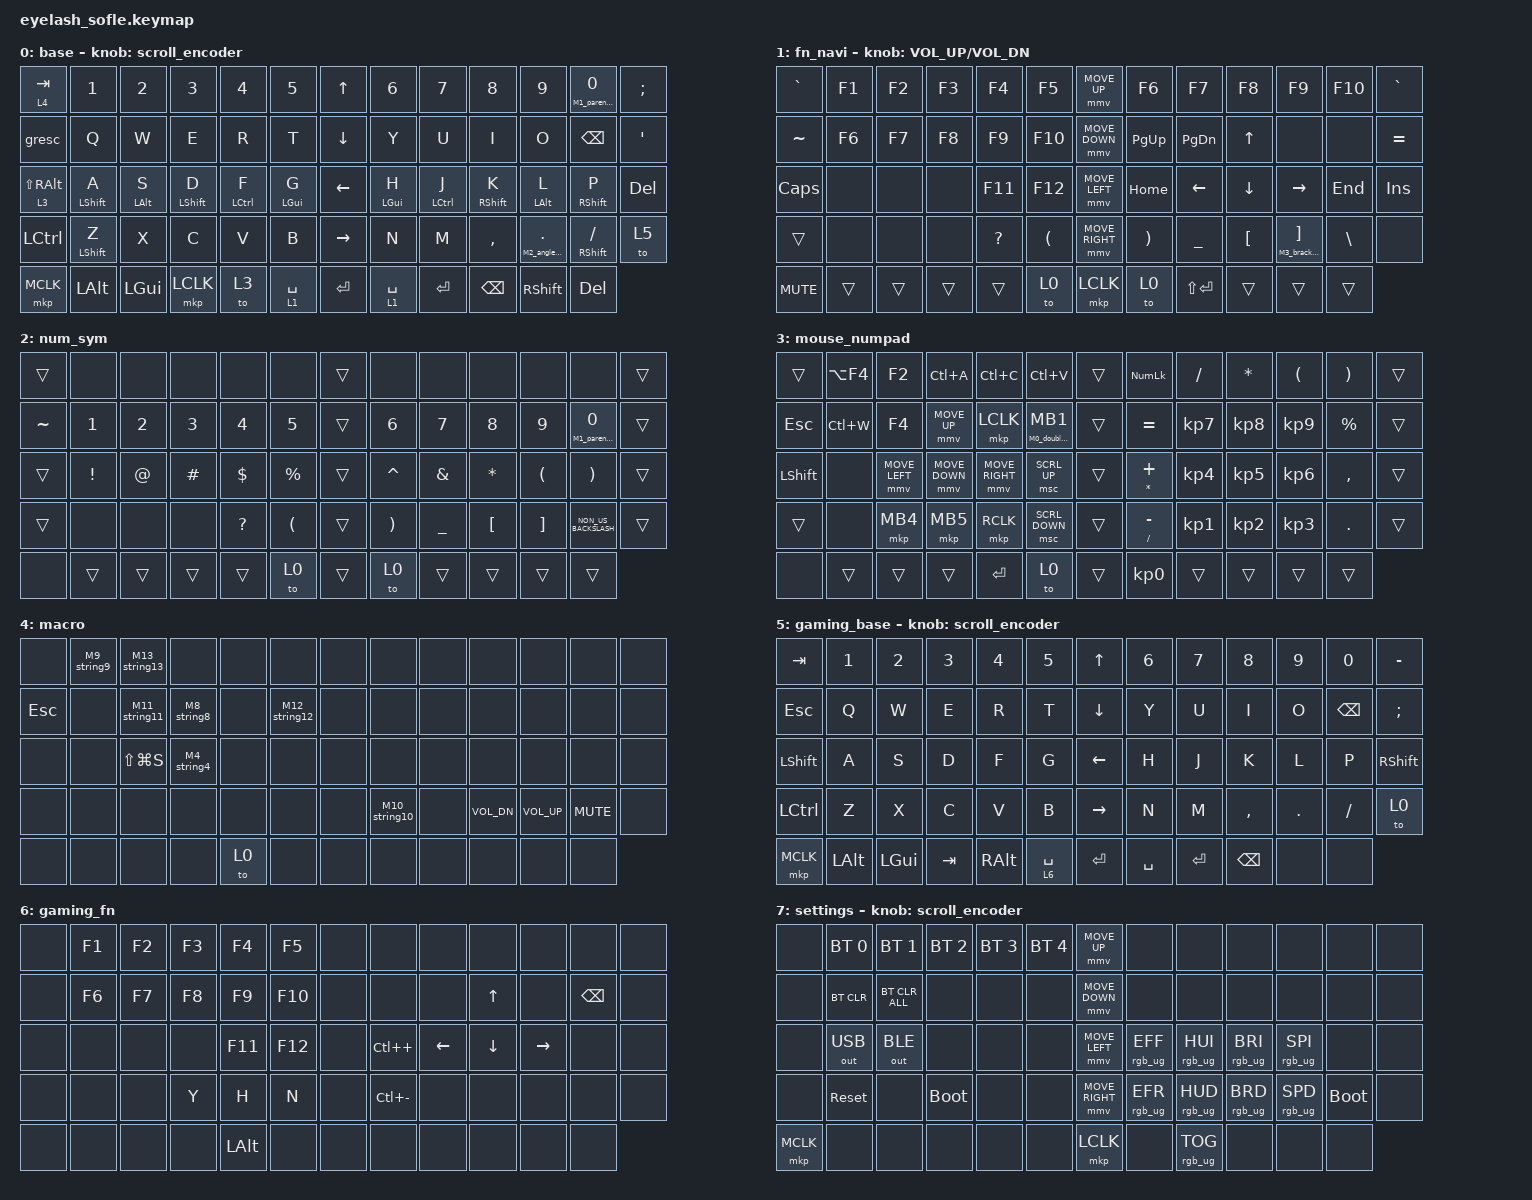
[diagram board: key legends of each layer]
#define ZMK_POINTING_DEFAULT_MOVE_VAL 1200  // 600
#define ZMK_POINTING_DEFAULT_SCRL_VAL 25   // 10

#include <input/processors.dtsi>
#include <zephyr/dt-bindings/input/input-event-codes.h>
#include <behaviors.dtsi>
#include <dt-bindings/zmk/bt.h>
#include <dt-bindings/zmk/keys.h>
#include <dt-bindings/zmk/outputs.h>
#include <dt-bindings/zmk/pointing.h>
#include <dt-bindings/zmk/rgb.h>

&mmv_input_listener { input-processors = <&zip_xy_scaler 2 1>; };

&msc_input_listener { input-processors = <&zip_scroll_scaler 2 1>; };

&msc {
    acceleration-exponent = <1>;      // 0
    time-to-max-speed-ms = <100>;       // 300
    delay-ms = <0>;                   // 0
};

&mmv {
    time-to-max-speed-ms = <500>;
    acceleration-exponent = <1>;
    trigger-period-ms = <16>;
};

&soft_off { hold-time-ms = <2000>; };

/ {
    scroll_encoder: scroll_encoder {
        compatible = "zmk,behavior-sensor-rotate";
        #sensor-binding-cells = <0>;
        bindings = <&msc SCRL_DOWN>, <&msc SCRL_UP>;

        tap-ms = <100>;
    };

    hanis_homerowmods: hanis_homerowmods {
        compatible = "zmk,behavior-hold-tap";
        label = "HANIS_HOMEROWMODS";
        bindings = <&kp>, <&kp>;

        #binding-cells = <2>;
        tapping-term-ms = <200>;
        flavor = "tap-preferred";
        quick-tap-ms = <130>;
    };

    hanis_holdtab_kpkp: hanis_holdtab_kpkp {
        compatible = "zmk,behavior-hold-tap";
        label = "HANIS_HOLDTAB_KPKP";
        bindings = <&kp>, <&kp>;

        #binding-cells = <2>;
        flavor = "tap-preferred";
        tapping-term-ms = <200>;
    };

    hanis_holdtap_mcr0: hanis_holdtap_mcr0 {
        compatible = "zmk,behavior-hold-tap";
        label = "HANIS_HOLDTAP_MCR0";
        bindings = <&M0_double_click>, <&mkp>;

        #binding-cells = <2>;
        tapping-term-ms = <200>;
        flavor = "tap-preferred";
    };

    hanis_holdtap_mcr1: hanis_holdtap_mcr1 {
        compatible = "zmk,behavior-hold-tap";
        label = "HANIS_HOLDTAP_MCR1";
        bindings = <&M1_parentheses>, <&kp>;

        #binding-cells = <2>;
        tapping-term-ms = <200>;
        flavor = "tap-preferred";
    };

    hanis_holdtab_mcr2: hanis_holdtab_mcr2 {
        compatible = "zmk,behavior-hold-tap";
        label = "HANIS_HOLDTAB_MCR2";
        bindings = <&M2_anglebrackets>, <&kp>;

        #binding-cells = <2>;
        tapping-term-ms = <200>;
        flavor = "tap-preferred";
    };

    hanis_holdtab_mcr3: hanis_holdtab_mcr3 {
        compatible = "zmk,behavior-hold-tap";
        label = "HANIS_HOLDTAB_MCR3";
        bindings = <&M3_brackets>, <&kp>;

        #binding-cells = <2>;
        tapping-term-ms = <200>;
        flavor = "tap-preferred";
    };

    behaviors {
    };

    combos {
        compatible = "zmk,combos";

        softoff {
            bindings = <&soft_off>;
            key-positions = <14 28 40>;
        };

        kl_hanyoung {
            bindings = <&hanis_holdtab_kpkp RCTRL RALT>;
            key-positions = <35 36>;
            timeout-ms = <50>;
            layers = <0>;
        };

        qw_ctrlW {
            bindings = <&kp LC(W)>;
            key-positions = <14 15>;
            timeout-ms = <50>;
            layers = <0>;
        };
    };

    macros {
        M0_double_click: M0_double_click {
            compatible = "zmk,behavior-macro";
            #binding-cells = <0>;
            bindings = <&mkp MB1 &mkp MB1>;
            label = "M0_DOUBLE_CLICK";
        };

        M1_parentheses: M1_parentheses {
            compatible = "zmk,behavior-macro";
            #binding-cells = <0>;
            bindings = <&kp LEFT_PARENTHESIS &kp RIGHT_PARENTHESIS &kp LEFT>;
            label = "M1_PARENTHESES";
        };

        M2_anglebrackets: M2_anglebrackets {
            compatible = "zmk,behavior-macro";
            #binding-cells = <0>;
            bindings = <&kp LESS_THAN &kp GREATER_THAN &kp LEFT>;
            label = "M2_ANGLEBRACKETS";
        };

        M3_brackets: M3_brackets {
            compatible = "zmk,behavior-macro";
            #binding-cells = <0>;
            bindings = <&kp LEFT_BRACKET &kp RIGHT_BRACKET &kp LEFT>;
            label = "M3_BRACKETS";
        };

        M4_string4: new_string1 {
            compatible = "zmk,behavior-macro";
            #binding-cells = <0>;
            bindings = <&kp D &kp L &kp A &kp R &kp M &kp A>;
            label = "NEW_STRING1";
        };

        M7_string7: M7_string7 {
            compatible = "zmk,behavior-macro";
            #binding-cells = <0>;
            bindings = <&kp K &kp I &kp M>;
            label = "M7_STRING7";
        };

        M8_string8: M8_string8 {
            compatible = "zmk,behavior-macro";
            #binding-cells = <0>;
            bindings = <&kp E &kp J &kp S &kp K>;
            label = "M8_STRING8";
        };

        M9_string9: M9_string9 {
            compatible = "zmk,behavior-macro";
            #binding-cells = <0>;
            bindings = <&kp N1 &kp N2 &kp N3 &kp N1 &kp N2 &kp N3 &kp N1 &kp N2 &kp N3>;
            label = "M9_STRING9";
        };

        M10_string10: M10_string10 {
            compatible = "zmk,behavior-macro";
            #binding-cells = <0>;
            bindings = <&kp N &kp I &kp C &kp E>;
            label = "M10_STRING10";
        };

        M11_string11: M11_string11 {
            compatible = "zmk,behavior-macro";
            #binding-cells = <0>;
            bindings = <&kp W &kp A &kp N &kp N &kp A>;
            label = "M11_STRING11";
        };

        M12_string12: M12_string12 {
            compatible = "zmk,behavior-macro";
            #binding-cells = <0>;
            bindings = <&kp T &kp N &kp E>;
            label = "M12_STRING12";
        };

        M13_string13: M13_string13 {
            compatible = "zmk,behavior-macro";
            #binding-cells = <0>;
            bindings = <&kp N1 &kp N2 &kp N3 &kp N1 &kp N2 &kp N3>;
            label = "M13_STRING13";
        };
    };

    keymap {
        compatible = "zmk,keymap";

        layer_0 {
            bindings = <
&lt 4 TAB            &kp N1                       &kp N2                     &kp N3                       &kp N4                      &kp N5                       &kp UP_ARROW     &kp N6                     &kp N7                      &kp N8                       &kp N9                     &hanis_holdtap_mcr1 0 N0        &kp SEMI
&gresc               &kp Q                        &kp W                      &kp E                        &kp R                       &kp T                        &kp DOWN_ARROW   &kp Y                      &kp U                       &kp I                        &kp O                      &kp BACKSPACE                   &kp APOS
&lt 3 LS(RIGHT_ALT)  &hanis_homerowmods LSHFT A   &hanis_homerowmods LALT S  &hanis_homerowmods LSHIFT D  &hanis_homerowmods LCTRL F  &hanis_homerowmods LGUI G    &kp LEFT_ARROW   &hanis_homerowmods LGUI H  &hanis_homerowmods LCTRL J  &hanis_homerowmods RSHIFT K  &hanis_homerowmods LALT L  &hanis_homerowmods RSHFT P      &kp DELETE
&kp LEFT_CONTROL     &hanis_homerowmods LSHIFT Z  &kp X                      &kp C                        &kp V                       &kp B                        &kp RIGHT_ARROW  &kp N                      &kp M                       &kp COMMA                    &hanis_holdtab_mcr2 0 DOT  &hanis_homerowmods RSHIFT FSLH  &to 5
&mkp MCLK            &kp LALT                     &kp LEFT_GUI               &mkp LCLK                    &to 3                       &lt 1 SPACE                  &kp ENTER        &lt 1 SPACE                &kp ENTER                   &kp BACKSPACE                &kp RIGHT_SHIFT            &kp DELETE
            >;

            sensor-bindings = <&scroll_encoder>;
            display-name = "base";
        };

        layer_1 {
            bindings = <
&kp GRAVE     &kp F1  &kp F2  &kp F3  &kp F4        &kp F5                  &mmv MOVE_UP     &kp F6                 &kp F7          &kp F8            &kp F9                               &kp F10        &kp GRAVE
&kp TILDE     &kp F6  &kp F7  &kp F8  &kp F9        &kp F10                 &mmv MOVE_DOWN   &kp PG_UP              &kp PAGE_DOWN   &kp UP            &none                                &none          &kp EQUAL
&kp CAPSLOCK  &none   &none   &none   &kp F11       &kp F12                 &mmv MOVE_LEFT   &kp HOME               &kp LEFT        &kp DOWN          &kp RIGHT                            &kp END        &kp INSERT
&trans        &none   &none   &none   &kp QUESTION  &kp LEFT_PARENTHESIS    &mmv MOVE_RIGHT  &kp RIGHT_PARENTHESIS  &kp UNDERSCORE  &kp LEFT_BRACKET  &hanis_holdtab_mcr3 0 RIGHT_BRACKET  &kp BACKSLASH  &none
&kp C_MUTE    &trans  &trans  &trans  &trans        &to 0                   &mkp LCLK        &to 0                  &kp LS(ENTER)   &trans            &trans                               &trans
            >;

            display-name = "fn_navi";
            sensor-bindings = <&inc_dec_kp C_VOLUME_UP C_VOL_DN>;
        };

        layer_2 {
            bindings = <
&trans     &none            &none        &none     &none         &none                   &trans  &none                  &none           &none             &none                 &none                     &trans
&kp TILDE  &kp N1           &kp N2       &kp N3    &kp N4        &kp N5                  &trans  &kp N6                 &kp N7          &kp N8            &kp N9                &hanis_holdtap_mcr1 0 N0  &trans
&trans     &kp EXCLAMATION  &kp AT_SIGN  &kp HASH  &kp DOLLAR    &kp PERCENT             &trans  &kp CARET              &kp AMPERSAND   &kp ASTERISK      &kp LEFT_PARENTHESIS  &kp RIGHT_PARENTHESIS     &trans
&trans     &none            &none        &none     &kp QUESTION  &kp LEFT_PARENTHESIS    &trans  &kp RIGHT_PARENTHESIS  &kp UNDERSCORE  &kp LEFT_BRACKET  &kp RIGHT_BRACKET     &kp NON_US_BACKSLASH      &trans
&none      &trans           &trans       &trans    &trans        &to 0                   &trans  &to 0                  &trans          &trans            &trans                &trans
            >;

            label = "num_sym";
        };

        layer_3 {
            bindings = <
&trans     &kp LA(F4)  &kp F2          &kp LC(A)       &kp LC(C)        &kp LC(V)                    &trans  &kp KP_NUMLOCK                     &kp SLASH        &kp ASTERISK     &kp LEFT_PARENTHESIS  &kp RIGHT_PARENTHESIS  &trans
&kp ESC    &kp LC(W)   &kp F4          &mmv MOVE_UP    &mkp LCLK        &hanis_holdtap_mcr0 0 MB1    &trans  &kp EQUAL                          &kp KP_NUMBER_7  &kp KP_NUMBER_8  &kp KP_NUMBER_9       &kp PERCENT            &trans
&kp LSHFT  &none       &mmv MOVE_LEFT  &mmv MOVE_DOWN  &mmv MOVE_RIGHT  &msc SCRL_UP                 &trans  &hanis_holdtab_kpkp ASTERISK PLUS  &kp KP_NUMBER_4  &kp KP_NUMBER_5  &kp KP_NUMBER_6       &kp COMMA              &trans
&trans     &none       &mkp MB4        &mkp MB5        &mkp RCLK        &msc SCRL_DOWN               &trans  &hanis_holdtab_kpkp SLASH MINUS    &kp KP_NUMBER_1  &kp KP_NUMBER_2  &kp KP_NUMBER_3       &kp DOT                &trans
&none      &trans      &trans          &trans          &kp ENTER        &to 0                        &trans  &kp KP_NUMBER_0                    &trans           &trans           &trans                &trans
            >;

            display-name = "mouse_numpad";
        };

        layer_4 {
            bindings = <
&none       &M9_string9  &M13_string13  &none        &none  &none            &none  &none          &none  &none         &none            &none       &none
&kp ESCAPE  &none        &M11_string11  &M8_string8  &none  &M12_string12    &none  &none          &none  &none         &none            &none       &none
&none       &none        &kp LS(LG(S))  &M4_string4  &none  &none            &none  &none          &none  &none         &none            &none       &none
&none       &none        &none          &none        &none  &none            &none  &M10_string10  &none  &kp C_VOL_DN  &kp C_VOLUME_UP  &kp K_MUTE  &none
&none       &none        &none          &none        &to 0  &none            &none  &none          &none  &none         &none            &none
            >;

            display-name = "macro";
        };

        layer_5 {
            display-name = "gaming_base";
            bindings = <
&kp TAB     &kp N1    &kp N2    &kp N3   &kp N4    &kp N5         &kp UP_ARROW     &kp N6     &kp N7     &kp N8     &kp N9   &kp N0         &kp MINUS
&kp ESCAPE  &kp Q     &kp W     &kp E    &kp R     &kp T          &kp DOWN_ARROW   &kp Y      &kp U      &kp I      &kp O    &kp BACKSPACE  &kp SEMI
&kp LSHFT   &kp A     &kp S     &kp D    &kp F     &kp G          &kp LEFT_ARROW   &kp H      &kp J      &kp K      &kp L    &kp P          &kp RSHFT
&kp LCTRL   &kp Z     &kp X     &kp C    &kp V     &kp B          &kp RIGHT_ARROW  &kp N      &kp M      &kp COMMA  &kp DOT  &kp FSLH       &to 0
&mkp MCLK   &kp LALT  &kp LGUI  &kp TAB  &kp RALT  &lt 6 SPACE    &kp ENTER        &kp SPACE  &kp ENTER  &kp BSPC   &none    &none
            >;

            sensor-bindings = <&scroll_encoder>;
        };

        layer_6 {
            bindings = <
&none  &kp F1  &kp F2  &kp F3  &kp F4    &kp F5     &none  &none          &none     &none     &none      &none     &none
&none  &kp F6  &kp F7  &kp F8  &kp F9    &kp F10    &none  &none          &none     &kp UP    &none      &kp BSPC  &none
&none  &none   &none   &none   &kp F11   &kp F12    &none  &kp LC(PLUS)   &kp LEFT  &kp DOWN  &kp RIGHT  &none     &none
&none  &none   &none   &kp Y   &kp H     &kp N      &none  &kp LC(MINUS)  &none     &none     &none      &none     &none
&none  &none   &none   &none   &kp LALT  &none      &none  &none          &none     &none     &none      &none
            >;

            label = "gaming_fn";
        };

        layer_8 {
            bindings = <
&none      &bt BT_SEL 0  &bt BT_SEL 1    &bt BT_SEL 2  &bt BT_SEL 3  &bt BT_SEL 4    &mmv MOVE_UP     &none            &none            &none            &none            &none        &none
&none      &bt BT_CLR    &bt BT_CLR_ALL  &none         &none         &none           &mmv MOVE_DOWN   &none            &none            &none            &none            &none        &none
&none      &out OUT_USB  &out OUT_BLE    &none         &none         &none           &mmv MOVE_LEFT   &rgb_ug RGB_EFF  &rgb_ug RGB_HUI  &rgb_ug RGB_BRI  &rgb_ug RGB_SPI  &none        &none
&none      &sys_reset    &none           &bootloader   &none         &none           &mmv MOVE_RIGHT  &rgb_ug RGB_EFR  &rgb_ug RGB_HUD  &rgb_ug RGB_BRD  &rgb_ug RGB_SPD  &bootloader  &none
&mkp MCLK  &none         &none           &none         &none         &none           &mkp LCLK        &none            &rgb_ug RGB_TOG  &none            &none            &none
            >;

            display-name = "settings";
            sensor-bindings = <&scroll_encoder>;
        };
    };
};
